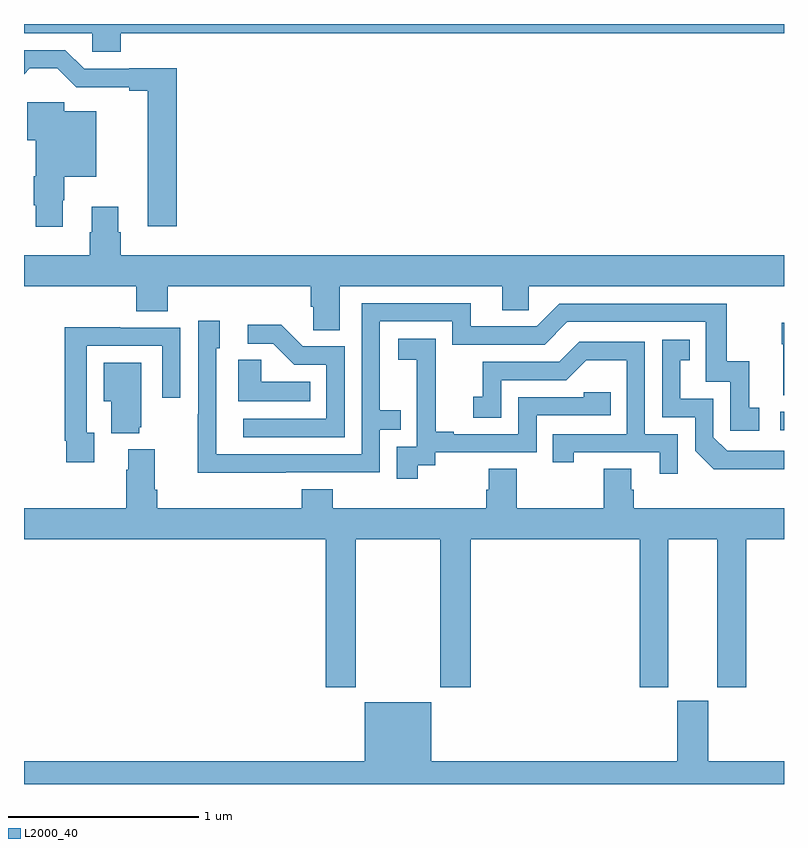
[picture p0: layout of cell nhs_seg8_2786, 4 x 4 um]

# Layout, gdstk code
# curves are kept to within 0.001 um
import gdstk
lib = gdstk.Library(unit=1e-6, precision=1e-09)
def R(c, l, rs):  # rectangles x0, y0, x1, y1
    for r in rs: c.add(gdstk.rectangle(r[:2], r[2:], *l))
def P(c, l, *ps):  # polygons
    for p in ps: c.add(gdstk.Polygon(p, *l))
L2000_40 = (2000, 40)

nhs_seg8_2786 = lib.new_cell('nhs_seg8_2786')
R(nhs_seg8_2786, L2000_40, [(290.979,1095.762,291,1095.858)])
P(nhs_seg8_2786, L2000_40, [(287.51,1097.852),(291,1097.852),(291,1097.9),(287,1097.9),(287,1097.852),(287.358,1097.852),(287.358,1097.754),(287.51,1097.754)],
  [(287.804,1097.666),(287.555,1097.666),(287.555,1097.664),(287.316,1097.664),(287.217,1097.763),(287,1097.763),(287,1097.635),(287.031,1097.666),(287.176,1097.666),(287.274,1097.568),(287.555,1097.568),(287.555,1097.548),(287.651,1097.548),(287.651,1096.836),(287.804,1096.836)],
  [(287.203,1096.973),(287.211,1096.973),(287.211,1097.096),(287.38,1097.096),(287.38,1097.44),(287.211,1097.44),(287.211,1097.488),(287.018,1097.488),(287.018,1097.288),(287.063,1097.288),(287.063,1097.1),(287.051,1097.1),(287.051,1096.945),(287.063,1096.945),(287.063,1096.833),(287.203,1096.833)],
  [(288.661,1096.52),(289.517,1096.52),(289.517,1096.393),(289.656,1096.393),(289.656,1096.52),(291,1096.52),(291,1096.684),(287.51,1096.684),(287.51,1096.803),(287.497,1096.803),(287.497,1096.939),(287.357,1096.939),(287.357,1096.803),(287.345,1096.803),(287.345,1096.684),(287,1096.684),(287,1096.52),(287.591,1096.52),(287.591,1096.387),(287.756,1096.387),(287.756,1096.52),(288.509,1096.52),(288.509,1096.411),(288.522,1096.411),(288.522,1096.288),(288.661,1096.288)],
  [(288.377,1095.54),(288.873,1095.54),(288.873,1095.765),(288.983,1095.765),(288.983,1095.866),(288.873,1095.866),(288.873,1096.335),(289.254,1096.335),(289.254,1096.212),(289.74,1096.212),(289.86,1096.332),(290.589,1096.332),(290.589,1096.017),(290.718,1096.017),(290.718,1095.759),(290.869,1095.759),(290.869,1095.879),(290.816,1095.879),(290.816,1096.126),(290.698,1096.126),(290.698,1096.428),(289.818,1096.428),(289.698,1096.308),(289.351,1096.308),(289.351,1096.431),(288.777,1096.431),(288.777,1095.636),(288.012,1095.636),(288.012,1096.194),(288.031,1096.194),(288.031,1096.339),(287.916,1096.339),(287.916,1095.845),(287.914,1095.845),(287.914,1095.539)],
  [(291,1096.327),(290.989,1096.327),(290.989,1096.214),(290.996,1096.214),(290.996,1095.947),(291,1095.947)],
  [(288.687,1096.203),(288.468,1096.203),(288.355,1096.316),(288.177,1096.316),(288.177,1096.218),(288.311,1096.218),(288.422,1096.107),(288.591,1096.107),(288.591,1095.822),(288.153,1095.822),(288.153,1095.726),(288.687,1095.726)],
  [(287.371,1095.75),(287.331,1095.75),(287.331,1096.206),(287.727,1096.206),(287.727,1095.933),(287.823,1095.933),(287.823,1096.302),(287.507,1096.302),(287.507,1096.304),(287.215,1096.304),(287.215,1095.706),(287.223,1095.706),(287.223,1095.594),(287.371,1095.594)],
  [(289.072,1095.577),(289.164,1095.577),(289.164,1095.645),(289.698,1095.645),(289.698,1095.84),(290.087,1095.84),(290.087,1095.963),(289.947,1095.963),(289.947,1095.936),(289.602,1095.936),(289.602,1095.741),(289.261,1095.741),(289.261,1095.754),(289.166,1095.754),(289.166,1096.037),(289.167,1096.037),(289.167,1096.243),(288.969,1096.243),(288.969,1096.133),(289.067,1096.133),(289.067,1095.905),(289.068,1095.905),(289.068,1095.675),(288.963,1095.675),(288.963,1095.507),(289.072,1095.507)],
  [(291,1095.654),(290.7,1095.654),(290.628,1095.726),(290.628,1095.927),(290.455,1095.927),(290.455,1096.131),(290.504,1096.131),(290.504,1096.237),(290.358,1096.237),(290.358,1095.831),(290.532,1095.831),(290.532,1095.654),(290.63,1095.557),(291,1095.557)],
  [(290.442,1095.741),(290.268,1095.741),(290.268,1096.227),(289.922,1096.227),(289.817,1096.122),(289.414,1096.122),(289.414,1095.937),(289.365,1095.937),(289.365,1095.828),(289.512,1095.828),(289.512,1096.026),(289.854,1096.026),(289.958,1096.13),(290.172,1096.13),(290.172,1095.741),(289.783,1095.741),(289.783,1095.594),(289.894,1095.594),(289.894,1095.645),(290.345,1095.645),(290.345,1095.534),(290.442,1095.534)],
  [(288.506,1096.018),(288.249,1096.018),(288.249,1096.133),(288.128,1096.133),(288.128,1095.914),(288.506,1095.914)],
  [(287.606,1095.777),(287.617,1095.777),(287.617,1096.117),(287.42,1096.117),(287.42,1095.914),(287.459,1095.914),(287.459,1095.746),(287.606,1095.746)],
  [(290.21,1095.45),(290.197,1095.45),(290.197,1095.56),(290.05,1095.56),(290.05,1095.352),(289.593,1095.352),(289.593,1095.56),(289.445,1095.56),(289.445,1095.45),(289.433,1095.45),(289.433,1095.352),(288.626,1095.352),(288.626,1095.451),(288.461,1095.451),(288.461,1095.352),(287.702,1095.352),(287.702,1095.448),(287.689,1095.448),(287.689,1095.661),(287.549,1095.661),(287.549,1095.554),(287.537,1095.554),(287.537,1095.352),(287,1095.352),(287,1095.188),(288.587,1095.188),(288.587,1094.409),(288.747,1094.409),(288.747,1095.188),(289.192,1095.188),(289.192,1094.409),(289.352,1094.409),(289.352,1095.188),(290.24,1095.188),(290.24,1094.409),(290.392,1094.409),(290.392,1095.188),(290.648,1095.188),(290.648,1094.409),(290.801,1094.409),(290.801,1095.188),(291,1095.188),(291,1095.352),(290.21,1095.352)],
  [(291,1094.02),(290.602,1094.02),(290.602,1094.337),(290.438,1094.337),(290.438,1094.02),(289.144,1094.02),(289.144,1094.329),(288.794,1094.329),(288.794,1094.02),(287,1094.02),(287,1093.9),(291,1093.9)])

lib.write_gds('nhs_seg8_2786.gds')
